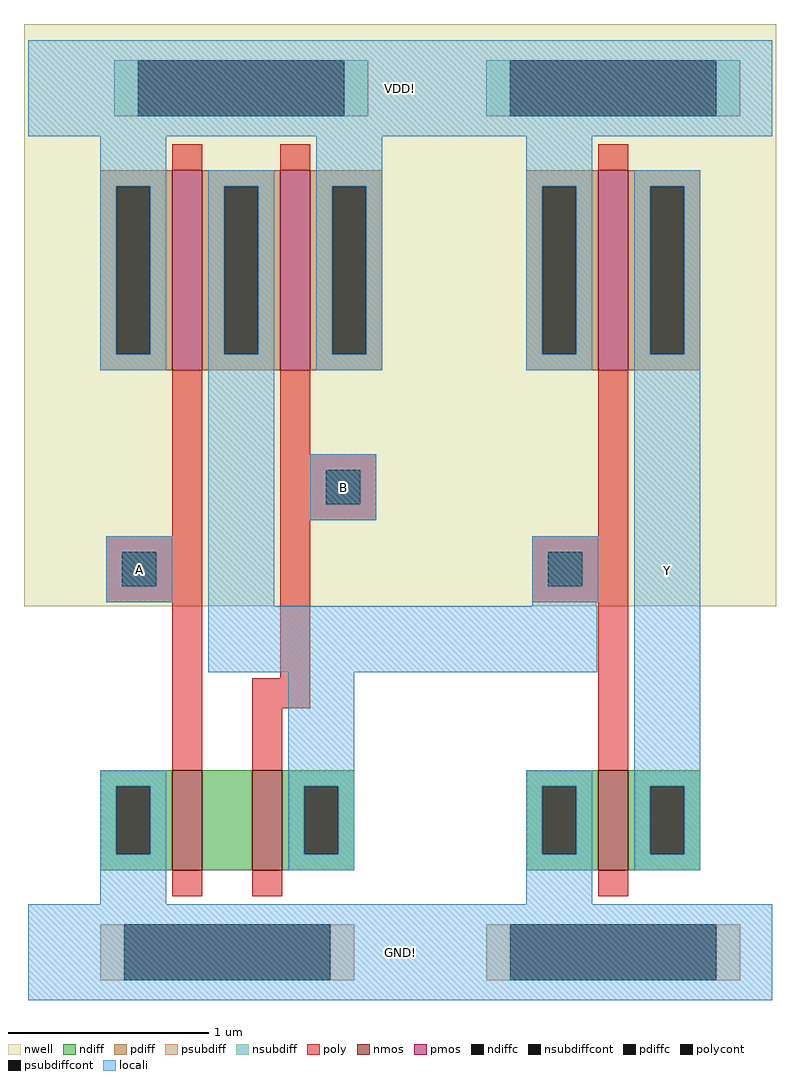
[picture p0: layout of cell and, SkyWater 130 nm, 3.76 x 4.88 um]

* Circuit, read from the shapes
.subckt and A B GND! VDD! Y
XM1 n1 A GND! GND! sky130_fd_pr__nfet_01v8 w=0.5 l=0.15
XM2 inv_0/A B n1 GND! sky130_fd_pr__nfet_01v8 w=0.5 l=0.15
XM3 Y inv_0/A GND! GND! sky130_fd_pr__nfet_01v8 w=0.5 l=0.15
XM4 inv_0/A A VDD! VDD! sky130_fd_pr__pfet_01v8 w=1 l=0.15
XM5 VDD! B inv_0/A VDD! sky130_fd_pr__pfet_01v8 w=1 l=0.15
XM6 Y inv_0/A VDD! VDD! sky130_fd_pr__pfet_01v8 w=1 l=0.15
.ends

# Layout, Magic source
magic
tech sky130A
magscale 1 2
<< locali >>
rect 4 864 748 960
rect 286 480 352 546
rect 82 398 148 464
rect 508 394 572 458
rect 217 328 573 394
rect 610 230 676 630
rect 4 0 748 96
use inv  inv_0 ~/magic/library/mag
transform 1 0 510 0 1 124
box -84 -124 242 852
use nand2  nand2_0 ~/magic/library/mag
transform 1 0 84 0 1 124
box -84 -124 350 852
<< labels >>
flabel locali 4 864 748 960 0 FreeSerif 160 0 0 0 VDD!
flabel locali 4 0 748 96 0 FreeSerif 160 0 0 0 GND!
flabel locali 82 398 148 464 0 FreeSerif 160 0 0 0 A
flabel locali 286 480 352 546 0 FreeSerif 160 0 0 0 B
flabel locali 610 230 676 630 0 FreeSerif 160 0 0 0 Y
<< end >>

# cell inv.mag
magic
tech sky130A
<< nwell >>
rect -42 135 121 426
<< nmos >>
rect 32 3 47 53
<< pmos >>
rect 32 253 47 353
<< ndiff >>
rect -4 45 32 53
rect -4 11 4 45
rect 21 11 32 45
rect -4 3 32 11
rect 47 45 83 53
rect 47 11 58 45
rect 75 11 83 45
rect 47 3 83 11
<< pdiff >>
rect -4 345 32 353
rect -4 261 4 345
rect 21 261 32 345
rect -4 253 32 261
rect 47 345 83 353
rect 47 261 58 345
rect 75 261 83 345
rect 47 253 83 261
<< ndiffc >>
rect 4 11 21 45
rect 58 11 75 45
<< pdiffc >>
rect 4 261 21 345
rect 58 261 75 345
<< psubdiff >>
rect -24 -52 -12 -24
rect 91 -52 103 -24
<< nsubdiff >>
rect -24 380 -12 408
rect 91 380 103 408
<< psubdiffcont >>
rect -12 -52 91 -24
<< nsubdiffcont >>
rect -12 380 91 408
<< poly >>
rect 32 353 47 366
rect 32 170 47 253
rect -1 162 47 170
rect -1 145 7 162
rect 24 145 47 162
rect -1 137 47 145
rect 32 53 47 137
rect 32 -10 47 3
<< polycont >>
rect 7 145 24 162
<< locali >>
rect -40 408 119 418
rect -40 380 -12 408
rect 91 380 119 408
rect -40 370 119 380
rect -4 345 29 370
rect -4 261 4 345
rect 21 261 29 345
rect -4 253 29 261
rect 50 345 83 353
rect 50 261 58 345
rect 75 261 83 345
rect -1 162 32 170
rect -1 145 7 162
rect 24 145 32 162
rect -1 137 32 145
rect -4 45 29 53
rect -4 11 4 45
rect 21 11 29 45
rect -4 -14 29 11
rect 50 45 83 261
rect 50 11 58 45
rect 75 11 83 45
rect 50 3 83 11
rect -40 -24 119 -14
rect -40 -52 -12 -24
rect 91 -52 119 -24
rect -40 -62 119 -52
<< labels >>
flabel locali -40 -62 119 -14 1 FreeSerif 80 0 0 0 GND!
port 1 n
flabel locali 50 53 83 253 1 FreeSerif 80 0 0 0 Y
port 2 n
flabel locali -1 137 32 170 0 FreeSerif 80 0 0 0 A
port 3 nsew
flabel locali -40 370 119 418 0 FreeSerif 80 0 0 0 VDD!
port 0 nsew
<< end >>

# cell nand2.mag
magic
tech sky130A
<< nwell >>
rect -42 135 175 426
<< nmos >>
rect 32 3 47 53
rect 72 3 87 53
<< pmos >>
rect 32 253 47 353
rect 86 253 101 353
<< ndiff >>
rect -4 45 32 53
rect -4 11 4 45
rect 21 11 32 45
rect -4 3 32 11
rect 47 3 72 53
rect 87 45 123 53
rect 87 11 98 45
rect 115 11 123 45
rect 87 3 123 11
<< pdiff >>
rect -4 345 32 353
rect -4 261 4 345
rect 21 261 32 345
rect -4 253 32 261
rect 47 345 86 353
rect 47 261 58 345
rect 75 261 86 345
rect 47 253 86 261
rect 101 345 137 353
rect 101 261 112 345
rect 129 261 137 345
rect 101 253 137 261
<< ndiffc >>
rect 4 11 21 45
rect 98 11 115 45
<< pdiffc >>
rect 4 261 21 345
rect 58 261 75 345
rect 112 261 129 345
<< psubdiff >>
rect -4 -52 8 -24
rect 111 -52 123 -24
<< nsubdiff >>
rect 3 380 15 408
rect 118 380 130 408
<< psubdiffcont >>
rect 8 -52 111 -24
<< nsubdiffcont >>
rect 15 380 118 408
<< poly >>
rect 32 353 47 366
rect 86 353 101 366
rect 32 170 47 253
rect -1 162 47 170
rect -1 145 7 162
rect 24 145 47 162
rect -1 137 47 145
rect 32 53 47 137
rect 86 211 101 253
rect 86 203 134 211
rect 86 186 109 203
rect 126 186 134 203
rect 86 178 134 186
rect 86 99 101 178
rect 72 84 101 99
rect 72 53 87 84
rect 32 -10 47 3
rect 72 -10 87 3
<< polycont >>
rect 7 145 24 162
rect 109 186 126 203
<< locali >>
rect -40 408 173 418
rect -40 380 15 408
rect 118 380 173 408
rect -40 370 173 380
rect -4 345 29 370
rect -4 261 4 345
rect 21 261 29 345
rect -4 253 29 261
rect 50 345 83 353
rect 50 261 58 345
rect 75 261 83 345
rect -1 162 32 170
rect -1 145 7 162
rect 24 145 32 162
rect -1 137 32 145
rect 50 135 83 261
rect 104 345 137 370
rect 104 261 112 345
rect 129 261 137 345
rect 104 253 137 261
rect 101 203 134 211
rect 101 186 109 203
rect 126 186 134 203
rect 101 178 134 186
rect 50 102 123 135
rect -4 45 29 53
rect -4 11 4 45
rect 21 11 29 45
rect -4 -14 29 11
rect 90 45 123 102
rect 90 11 98 45
rect 115 11 123 45
rect 90 3 123 11
rect -40 -24 173 -14
rect -40 -52 8 -24
rect 111 -52 173 -24
rect -40 -62 173 -52
<< labels >>
flabel locali -1 137 32 170 0 FreeSerif 80 0 0 0 A
port 3 nsew
flabel locali 101 178 134 211 0 FreeSerif 80 0 0 0 B
port 8 nsew
flabel locali 50 102 83 253 0 FreeSerif 80 0 0 0 Y
port 2 nsew
flabel locali -40 370 173 418 0 FreeSerif 80 0 0 0 VDD!
port 0 nsew
flabel locali -40 -62 173 -14 0 FreeSerif 80 0 0 0 GND!
port 1 nsew
<< end >>
